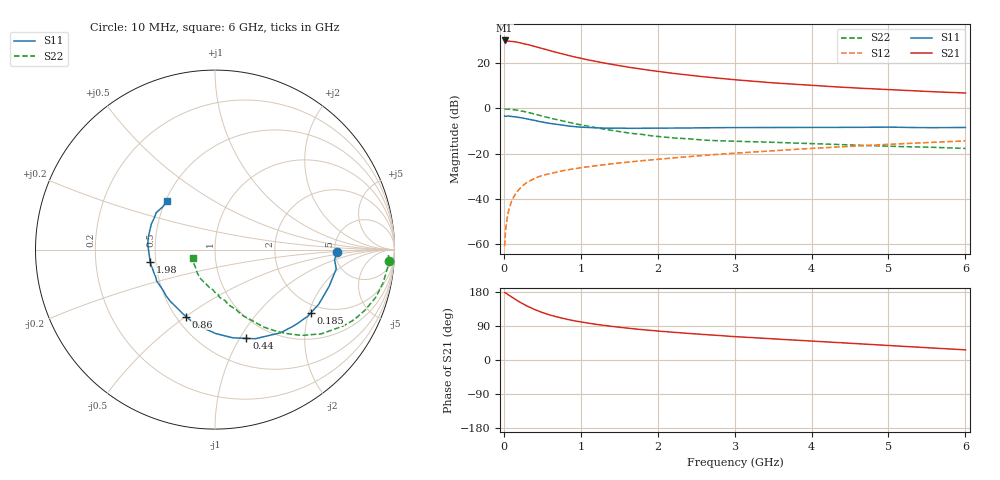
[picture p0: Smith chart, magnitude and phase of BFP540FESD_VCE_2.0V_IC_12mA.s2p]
! Infineon Technologies  Discrete & RF Semiconductors
! BFP540FESD
! VCE =  2.0 V,  IC =  12 mA
! Common Emitter S-Parameters:  Nov 2015
# GHz  S  MA  R  50
!  f  S11  S21  S12  S22
! GHz  MAG  ANG  MAG  ANG  MAG  ANG  MAG  ANG
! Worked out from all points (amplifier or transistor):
!   210 points, 10 MHz to 6 GHz, reference 50 ohm
!   highest |S21| = 30.1 dB at 10 MHz (marker M1)
!   |S21| within 3 dB of that: start of sweep to 440.1 MHz
!   unconditionally stable (mu >= 1): 2.06 GHz to end of sweep
!   at 185 MHz: K = 0.19, MSG = 32.8 dB, |S12| = -36.3 dB
!   at 1.52 GHz: K = 0.88, MSG = 21.4 dB, |S12| = -24.0 dB
!   at 6 GHz: K = 1.20, MAG = 7.9 dB, |S12| = -14.3 dB
!   S11 on the Smith chart (normalised r, x): 10 MHz: 5.24, -0.25; 185 MHz: 1.74, -2.07; 440 MHz: 0.78, -1.07; 860 MHz: 0.56, -0.50; 1.98 GHz: 0.47, -0.07; 6 GHz: 0.51, +0.32
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0.01  0.6803 -1.1  31.96 178.0  0.0009 87.4  0.9708 -3.7
0.02  0.6687 -4.9  30.83 177.3  0.0017 95.4  0.967 -2.0
0.05  0.6841 -9.0  31.03 173.2  0.0044 88.6  0.9677 -5.6
0.1  0.6682 -17.8  30.43 166.5  0.0088 82.5  0.9547 -11.3
0.15  0.6534 -27.8  29.88 160.0  0.0127 77.6  0.9332 -16.7
0.185  0.6406 -33.2  29 155.6  0.0153 75.6  0.9104 -20.3
0.24  0.617 -41.9  27.72 149.2  0.0192 72.3  0.8749 -25.7
0.3  0.5898 -51.8  26.27 142.5  0.0231 69.1  0.8304 -30.9
0.4  0.5452 -65.6  23.65 133.1  0.0284 64.2  0.7547 -38.5
0.44  0.5246 -70.5  22.63 130.1  0.0303 62.9  0.7237 -40.8
0.5  0.5016 -78.5  21.23 125.2  0.0331 61.2  0.6796 -44.7
0.6  0.4678 -89.5  18.94 118.6  0.0362 58.8  0.6147 -49.5
0.7  0.4408 -98.9  17.11 113.2  0.0395 56.9  0.5606 -53.7
0.86  0.4063 -113.3  14.61 105.8  0.0447 56.0  0.4848 -59.5
1.02  0.3847 -125.0  12.66 99.8  0.0495 55.1  0.427 -64.1
1.42  0.3666 -147.8  9.349 88.3  0.0602 53.7  0.3247 -75.0
1.98  0.3674 -169.5  6.684 76.8  0.0747 52.9  0.243 -88.8
2.02  0.3675 -170.8  6.549 76.1  0.0757 52.8  0.2395 -89.8
3.1  0.3781 167.6  4.196 60.6  0.1052 49.6  0.1868 -111.9
4.1  0.3819 156.8  3.163 48.8  0.1337 45.2  0.1649 -126.2
5.1  0.3842 146.5  2.566 37.1  0.164 38.9  0.1446 -140.6
6  0.3801 134.3  2.199 26.8  0.1917 32.3  0.1307 -159.7
